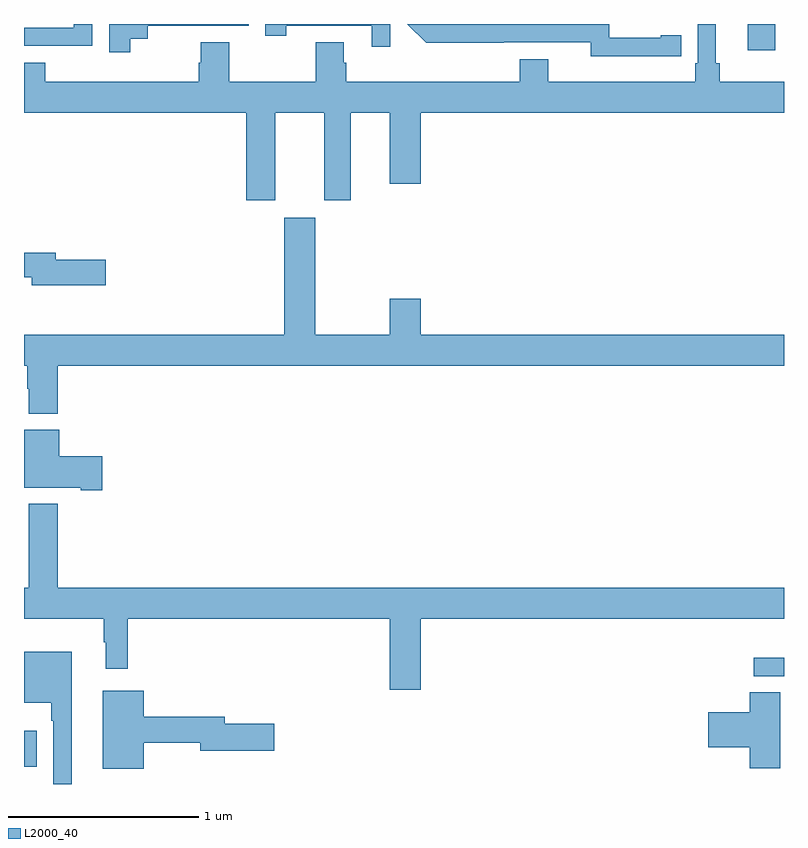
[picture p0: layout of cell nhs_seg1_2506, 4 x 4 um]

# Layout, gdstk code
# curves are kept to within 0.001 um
import gdstk
lib = gdstk.Library(unit=1e-6, precision=1e-09)
def R(c, l, rs):  # rectangles x0, y0, x1, y1
    for r in rs: c.add(gdstk.rectangle(r[:2], r[2:], *l))
def P(c, l, *ps):  # polygons
    for p in ps: c.add(gdstk.Polygon(p, *l))
L2000_40 = (2000, 40)

nhs_seg1_2506 = lib.new_cell('nhs_seg1_2506')
R(nhs_seg1_2506, L2000_40, [(247,548.291,247.066,548.479), (250.842,548.766,251,548.864), (250.808,552.06,250.954,552.199)])
P(nhs_seg1_2506, L2000_40, [(247.558,552.121),(247.65,552.121),(247.65,552.189),(248.184,552.189),(248.184,552.199),(247.449,552.199),(247.449,552.051),(247.558,552.051)],
  [(248.323,551.732),(248.579,551.732),(248.579,551.271),(248.719,551.271),(248.719,551.732),(248.924,551.732),(248.924,551.358),(249.088,551.358),(249.088,551.732),(251,551.732),(251,551.896),(250.661,551.896),(250.661,551.992),(250.642,551.992),(250.642,552.199),(250.545,552.199),(250.545,551.992),(250.532,551.992),(250.532,551.896),(249.76,551.896),(249.76,552.013),(249.608,552.013),(249.608,551.896),(248.696,551.896),(248.696,551.994),(248.683,551.994),(248.683,552.104),(248.536,552.104),(248.536,551.896),(248.079,551.896),(248.079,552.104),(247.931,552.104),(247.931,551.994),(247.919,551.994),(247.919,551.896),(247.112,551.896),(247.112,551.995),(247,551.995),(247,551.732),(248.171,551.732),(248.171,551.271),(248.323,551.271)],
  [(250.352,552.03),(250.46,552.03),(250.46,552.139),(250.352,552.139),(250.352,552.126),(250.08,552.126),(250.08,552.198),(249.018,552.199),(249.116,552.101),(249.984,552.102),(249.984,552.029)],
  [(247.359,552.199),(247.263,552.199),(247.263,552.18),(247,552.18),(247,552.084),(247.359,552.084)],
  [(248.928,552.199),(248.269,552.199),(248.269,552.138),(248.38,552.138),(248.38,552.189),(248.831,552.189),(248.831,552.078),(248.928,552.078)],
  [(247.178,550.4),(251,550.4),(251,550.564),(249.088,550.564),(249.088,550.753),(248.924,550.753),(248.924,550.564),(248.533,550.564),(248.533,551.179),(248.369,551.179),(248.369,550.564),(247,550.564),(247,550.4),(247.018,550.4),(247.018,550.28),(247.025,550.28),(247.025,550.148),(247.178,550.148)],
  [(247.429,550.958),(247.168,550.958),(247.168,550.994),(247,550.994),(247,550.866),(247.04,550.866),(247.04,550.823),(247.429,550.823)],
  [(247.411,549.924),(247.186,549.924),(247.186,550.063),(247,550.063),(247,549.758),(247.298,549.758),(247.298,549.746),(247.411,549.746)],
  [(247.178,549.673),(247.025,549.673),(247.025,549.232),(247,549.232),(247,549.068),(247.419,549.068),(247.419,548.945),(247.43,548.945),(247.43,548.805),(247.547,548.805),(247.547,549.068),(248.924,549.068),(248.924,548.694),(249.088,548.694),(249.088,549.068),(251,549.068),(251,549.232),(247.178,549.232)],
  [(247.252,548.896),(247,548.896),(247,548.627),(247.143,548.627),(247.143,548.531),(247.155,548.531),(247.155,548.199),(247.252,548.199)],
  [(247.63,548.416),(247.928,548.416),(247.928,548.374),(248.317,548.374),(248.317,548.516),(248.056,548.516),(248.056,548.552),(247.63,548.552),(247.63,548.689),(247.415,548.689),(247.415,548.279),(247.63,548.279)],
  [(250.981,548.681),(250.82,548.681),(250.82,548.576),(250.602,548.576),(250.602,548.393),(250.82,548.393),(250.82,548.283),(250.981,548.283)])

lib.write_gds('nhs_seg1_2506.gds')
